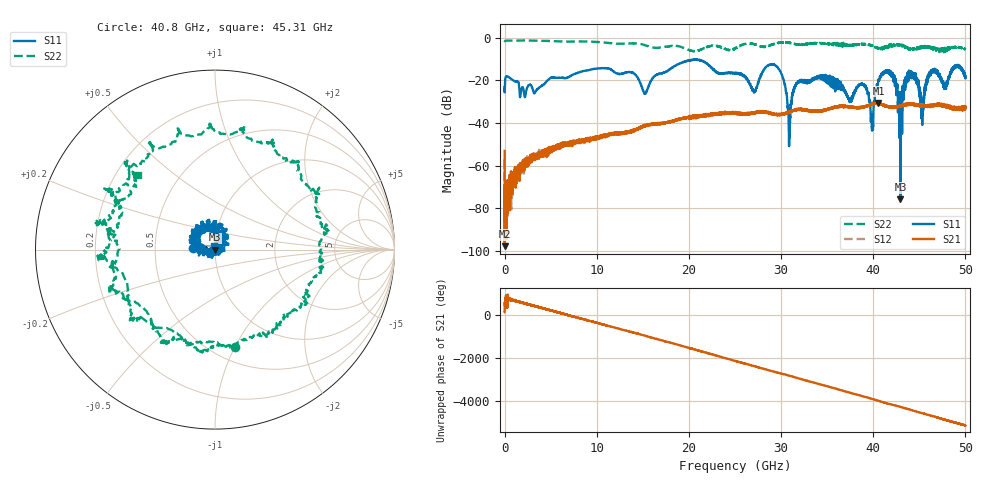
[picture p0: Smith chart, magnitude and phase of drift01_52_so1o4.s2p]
!Created with skrf (http://scikit-rf.org).
# Hz S RI R 50.0
!freq ReS11 ImS11 ReS21 ImS21 ReS12 ImS12 ReS22 ImS22
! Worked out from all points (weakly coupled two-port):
!   10001 points, 300 kHz to 50 GHz, reference 50 ohm
!   highest |S21| = -30.61 dB at 40.57 GHz (marker M1); lowest = -97.7 dB at 15.3 MHz (marker M2)
!   lowest |S11| = -75.7 dB at 42.96 GHz (marker M3), VSWR 1.00, Z = 50 + j0.00984 ohm
!   |S11| at or under -10 dB: start of sweep to end of sweep
!   |S22| runs from -7.1 to -1.4 dB; largest |S21 - S12| = 0.0038
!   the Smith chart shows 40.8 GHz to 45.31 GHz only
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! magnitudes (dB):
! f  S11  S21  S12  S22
! 300 kHz  -23.2  -53.1  -57.2  -2.2
! 15.3 MHz  -24.6  -97.7  -79.2  -2.0
! 255.3 MHz  -18.1  -75.8  -76.6  -1.4
! 2.945 GHz  -23.0  -54.7  -57.8  -1.4
! 8.335 GHz  -15.9  -48.9  -48.0  -1.8
! 15.23 GHz  -26.2  -41.4  -41.4  -3.6
! 16.67 GHz  -17.0  -40.2  -40.2  -4.9
! 25 GHz  -16.7  -35.7  -35.3  -5.2
! 27.11 GHz  -25.1  -35.1  -35.1  -3.2
! 29.42 GHz  -13.1  -35.9  -35.8  -2.7
! 30.91 GHz  -42.2  -34.6  -34.8  -2.6
! 31.65 GHz  -21.5  -34.1  -33.9  -3.2
! 33.34 GHz  -19.8  -34.4  -34.2  -2.6
! 38.92 GHz  -22.2  -32.4  -32.5  -2.9
! 39.91 GHz  -40.9  -31.3  -31.2  -3.8
! 40.57 GHz  -19.9  -30.6  -31.0  -4.9
! 41.67 GHz  -16.6  -32.2  -32.5  -4.5
! 42.96 GHz  -75.7  -32.0  -32.0  -3.9
! 44.07 GHz  -17.6  -31.1  -30.9  -5.3
! 45.31 GHz  -36.4  -31.9  -31.8  -4.3
! 46.45 GHz  -15.0  -31.6  -31.7  -4.7
! 50 GHz  -18.3  -32.4  -32.8  -5.5
